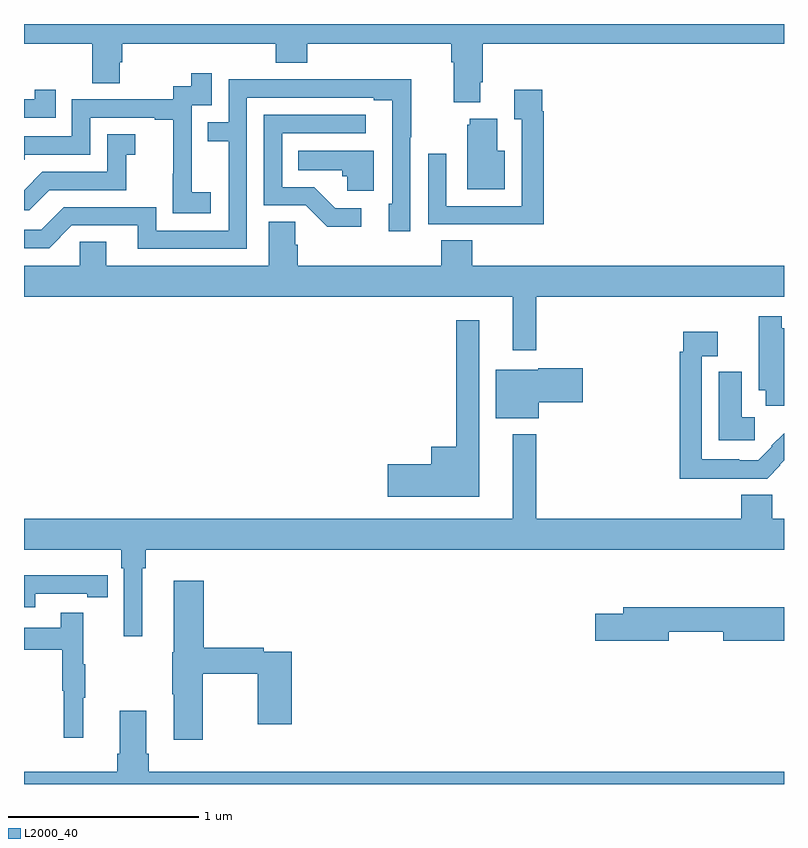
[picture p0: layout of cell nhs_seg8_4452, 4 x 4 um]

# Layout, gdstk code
import gdstk
lib = gdstk.Library(unit=1e-6, precision=1e-09)
def P(c, l, *ps):  # polygons
    for p in ps: c.add(gdstk.Polygon(p, *l))
L2000_40 = (2000, 40)

nhs_seg8_4452 = lib.new_cell('nhs_seg8_4452')
P(nhs_seg8_4452, L2000_40, [(383.401,1153.594),(383.414,1153.594),(383.414,1153.796),(385,1153.796),(385,1153.9),(381,1153.9),(381,1153.796),(381.358,1153.796),(381.358,1153.588),(381.505,1153.588),(381.505,1153.698),(381.518,1153.698),(381.518,1153.796),(382.325,1153.796),(382.325,1153.697),(382.49,1153.697),(382.49,1153.796),(383.249,1153.796),(383.249,1153.7),(383.261,1153.7),(383.261,1153.487),(383.401,1153.487)],
  [(381.982,1153.015),(381.884,1153.015),(381.884,1153.244),(381.882,1153.244),(381.882,1153.473),(381.987,1153.473),(381.987,1153.642),(381.879,1153.642),(381.879,1153.572),(381.786,1153.572),(381.786,1153.503),(381.252,1153.503),(381.252,1153.308),(381,1153.308),(381,1153.185),(381.003,1153.185),(381.003,1153.212),(381.348,1153.212),(381.348,1153.407),(381.689,1153.407),(381.689,1153.395),(381.785,1153.395),(381.785,1153.111),(381.784,1153.111),(381.784,1152.905),(381.982,1152.905)],
  [(382.173,1153.512),(382.841,1153.512),(382.841,1153.5),(382.938,1153.5),(382.938,1152.954),(382.919,1152.954),(382.919,1152.81),(383.034,1152.81),(383.034,1153.303),(383.037,1153.303),(383.037,1153.61),(382.573,1153.61),(382.573,1153.608),(382.077,1153.608),(382.077,1153.383),(381.967,1153.383),(381.967,1153.282),(382.077,1153.282),(382.077,1152.813),(381.696,1152.813),(381.696,1152.936),(381.21,1152.936),(381.09,1152.816),(381,1152.816),(381,1152.72),(381.132,1152.72),(381.252,1152.84),(381.599,1152.84),(381.599,1152.717),(382.173,1152.717)],
  [(381.167,1153.555),(381.056,1153.555),(381.056,1153.503),(381,1153.503),(381,1153.407),(381.167,1153.407)],
  [(383.735,1153.442),(383.728,1153.442),(383.728,1153.555),(383.579,1153.555),(383.579,1153.399),(383.619,1153.399),(383.619,1152.942),(383.223,1152.942),(383.223,1153.216),(383.127,1153.216),(383.127,1152.846),(383.443,1152.846),(383.443,1152.845),(383.735,1152.845)],
  [(382.774,1152.93),(382.639,1152.93),(382.528,1153.041),(382.359,1153.041),(382.359,1153.326),(382.798,1153.326),(382.798,1153.422),(382.263,1153.422),(382.263,1152.945),(382.482,1152.945),(382.595,1152.833),(382.774,1152.833)],
  [(383.53,1153.234),(383.491,1153.234),(383.491,1153.402),(383.345,1153.402),(383.345,1153.371),(383.333,1153.371),(383.333,1153.031),(383.53,1153.031)],
  [(381.133,1153.026),(381.537,1153.026),(381.537,1153.211),(381.586,1153.211),(381.586,1153.321),(381.438,1153.321),(381.438,1153.122),(381.096,1153.122),(381,1153.026),(381,1152.921),(381.028,1152.921)],
  [(382.84,1153.234),(382.444,1153.234),(382.444,1153.13),(382.675,1153.13),(382.675,1153.098),(382.701,1153.098),(382.701,1153.022),(382.84,1153.022)],
  [(383.195,1152.761),(383.195,1152.628),(382.442,1152.628),(382.442,1152.737),(382.428,1152.737),(382.428,1152.86),(382.289,1152.86),(382.289,1152.628),(381.433,1152.628),(381.433,1152.755),(381.294,1152.755),(381.294,1152.628),(381,1152.628),(381,1152.464),(383.573,1152.464),(383.573,1152.183),(383.695,1152.183),(383.695,1152.464),(385,1152.464),(385,1152.628),(383.36,1152.628),(383.36,1152.761)],
  [(385,1152.298),(384.988,1152.298),(384.988,1152.361),(384.866,1152.361),(384.866,1151.972),(384.905,1151.972),(384.905,1151.892),(385,1151.892)],
  [(383.395,1152.34),(383.274,1152.34),(383.274,1151.674),(383.144,1151.674),(383.144,1151.582),(382.914,1151.582),(382.914,1151.411),(383.395,1151.411)],
  [(384.981,1151.577),(384.977,1151.581),(385,1151.604),(385,1151.746),(384.933,1151.679),(384.936,1151.676),(384.864,1151.604),(384.764,1151.604),(384.764,1151.608),(384.567,1151.608),(384.567,1152.152),(384.65,1152.152),(384.65,1152.28),(384.471,1152.28),(384.471,1152.176),(384.451,1152.176),(384.451,1151.507),(384.911,1151.507)],
  [(383.71,1151.909),(383.941,1151.909),(383.941,1152.087),(383.706,1152.087),(383.706,1152.079),(383.483,1152.079),(383.483,1151.825),(383.71,1151.825)],
  [(384.847,1151.83),(384.778,1151.83),(384.778,1152.071),(384.656,1152.071),(384.656,1151.71),(384.847,1151.71)],
  [(381.622,1151.036),(381.641,1151.036),(381.641,1151.132),(385,1151.132),(385,1151.296),(384.937,1151.296),(384.937,1151.422),(384.776,1151.422),(384.776,1151.296),(383.695,1151.296),(383.695,1151.74),(383.573,1151.74),(383.573,1151.296),(381,1151.296),(381,1151.132),(381.512,1151.132),(381.512,1151.036),(381.525,1151.036),(381.525,1150.677),(381.622,1150.677)],
  [(381.06,1150.902),(381.332,1150.902),(381.332,1150.882),(381.44,1150.882),(381.44,1150.998),(381.332,1150.998),(381.332,1150.999),(381,1150.999),(381,1150.83),(381.06,1150.83)],
  [(381.942,1150.48),(382.231,1150.48),(382.231,1150.215),(382.409,1150.215),(382.409,1150.596),(382.262,1150.596),(382.262,1150.616),(381.947,1150.616),(381.947,1150.969),(381.788,1150.969),(381.788,1150.593),(381.781,1150.593),(381.781,1150.372),(381.788,1150.372),(381.788,1150.134),(381.942,1150.134)],
  [(384.394,1150.702),(384.68,1150.702),(384.68,1150.655),(385,1150.655),(385,1150.831),(384.155,1150.831),(384.155,1150.797),(384.006,1150.797),(384.006,1150.655),(384.394,1150.655)],
  [(381.311,1150.355),(381.322,1150.355),(381.322,1150.529),(381.311,1150.529),(381.311,1150.801),(381.193,1150.801),(381.193,1150.722),(381,1150.722),(381,1150.606),(381.201,1150.606),(381.201,1150.392),(381.208,1150.392),(381.208,1150.143),(381.311,1150.143)],
  [(385,1149.964),(381.656,1149.964),(381.656,1150.06),(381.643,1150.06),(381.643,1150.285),(381.503,1150.285),(381.503,1150.06),(381.491,1150.06),(381.491,1149.964),(381,1149.964),(381,1149.9),(385,1149.9)])

lib.write_gds('nhs_seg8_4452.gds')
